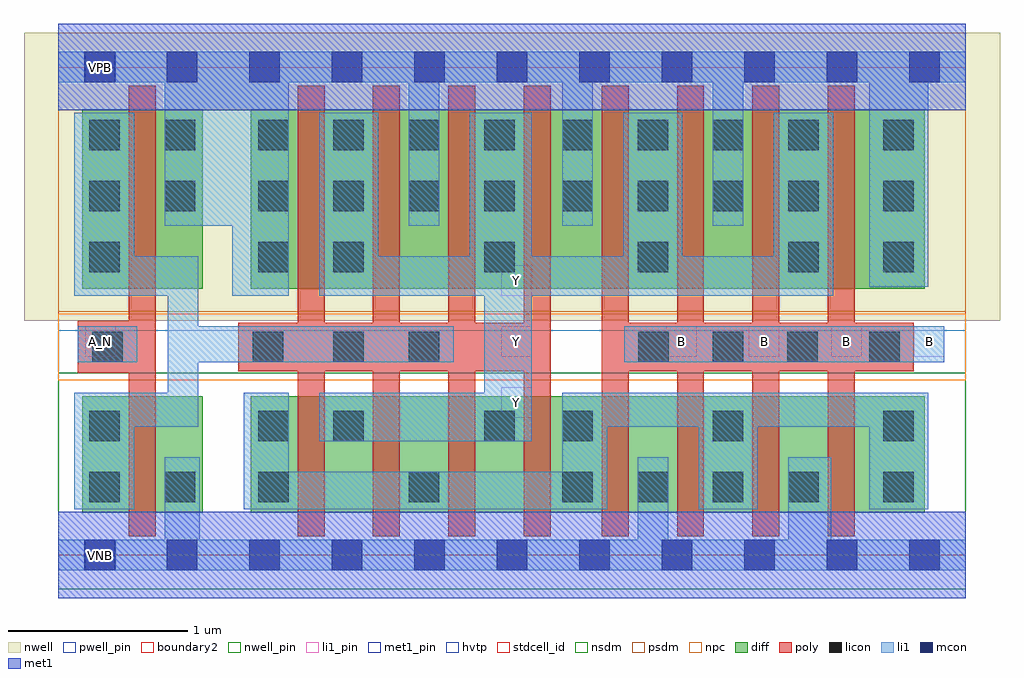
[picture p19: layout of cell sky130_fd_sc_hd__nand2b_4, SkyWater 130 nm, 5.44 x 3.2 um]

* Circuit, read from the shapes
.subckt sky130_fd_sc_hd__nand2b_4 A_N B VGND VNB VPB VPWR Y
XM1 VGND A_N n1 VNB sky130_fd_pr__nfet_01v8 w=0.65 l=0.15
XM2 Y n1 n2 VNB sky130_fd_pr__nfet_01v8 w=0.65 l=0.15 m=4
XM3 VGND B n2 VNB sky130_fd_pr__nfet_01v8 w=0.65 l=0.15 m=4
XM4 VPWR A_N n1 VPB sky130_fd_pr__pfet_01v8_hvt w=1 l=0.15
XM5 Y n1 VPWR VPB sky130_fd_pr__pfet_01v8_hvt w=1 l=0.15 m=4
XM6 Y B VPWR VPB sky130_fd_pr__pfet_01v8_hvt w=1 l=0.15 m=4
.ends

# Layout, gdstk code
import gdstk
lib = gdstk.Library(unit=1e-6, precision=1e-09)
def R(c, l, rs):  # rectangles x0, y0, x1, y1
    for r in rs: c.add(gdstk.rectangle(r[:2], r[2:], *l))
def A(c, l, x, y, w, h, nx, ny, dx, dy):  # array of equal rectangles
    R(c, l, [(x+i*dx, y+j*dy, x+i*dx+w, y+j*dy+h) for i in range(nx) for j in range(ny)])
def P(c, l, *ps):  # polygons
    for p in ps: c.add(gdstk.Polygon(p, *l))
nwell_pin = (64, 16)
nwell = (64, 20)
diff = (65, 20)
poly = (66, 20)
licon = (66, 44)
li1_pin = (67, 16)
li1 = (67, 20)
mcon = (67, 44)
met1_pin = (68, 16)
met1 = (68, 20)
hvtp = (78, 44)
stdcell_id = (81, 4)
nsdm = (93, 44)
psdm = (94, 20)
npc = (95, 20)
pwell_pin = (122, 16)
boundary2 = (236, 0)

sky130_fd_sc_hd__nand2b_ = lib.new_cell('sky130_fd_sc_hd__nand2b_4')
R(sky130_fd_sc_hd__nand2b_, nwell_pin, [(0.15,2.635,0.32,2.805)])
R(sky130_fd_sc_hd__nand2b_, nwell, [(-0.19,1.305,5.25,2.91)])
R(sky130_fd_sc_hd__nand2b_, diff, [(0.135,0.235,0.805,0.885), (1.075,0.235,4.83,0.885), (0.135,1.485,0.805,2.485), (1.075,1.485,4.83,2.485)])
R(sky130_fd_sc_hd__nand2b_, poly, [(0.11,1.015,0.395,1.025), (0.11,1.295,0.395,1.305)])
P(sky130_fd_sc_hd__nand2b_, poly, [(0.545,2.615),(0.395,2.615),(0.395,1.295),(0.11,1.295),(0.11,1.025),(0.395,1.025),(0.395,0.105),(0.545,0.105)],
  [(2.745,2.615),(2.595,2.615),(2.595,1.295),(2.325,1.295),(2.325,2.615),(2.175,2.615),(2.175,1.295),(1.905,1.295),(1.905,2.615),(1.755,2.615),(1.755,1.295),(1.485,1.295),(1.485,2.615),(1.335,2.615),(1.335,1.295),(1.005,1.295),(1.005,1.025),(1.335,1.025),(1.335,0.105),(1.485,0.105),(1.485,1.025),(1.755,1.025),(1.755,0.105),(1.905,0.105),(1.905,1.025),(2.175,1.025),(2.175,0.105),(2.325,0.105),(2.325,1.025),(2.595,1.025),(2.595,0.105),(2.745,0.105)],
  [(4.77,1.295),(4.44,1.295),(4.44,2.615),(4.29,2.615),(4.29,1.295),(4.02,1.295),(4.02,2.615),(3.87,2.615),(3.87,1.295),(3.6,1.295),(3.6,2.615),(3.45,2.615),(3.45,1.295),(3.18,1.295),(3.18,2.615),(3.03,2.615),(3.03,0.105),(3.18,0.105),(3.18,1.025),(3.45,1.025),(3.45,0.105),(3.6,0.105),(3.6,1.025),(3.87,1.025),(3.87,0.105),(4.02,0.105),(4.02,1.025),(4.29,1.025),(4.29,0.105),(4.44,0.105),(4.44,1.025),(4.77,1.025)])
A(sky130_fd_sc_hd__nand2b_, licon, 2.81, 0.295, 0.17, 0.17, 4, 2, 0.42, 1.62)
A(sky130_fd_sc_hd__nand2b_, licon, 3.235, 1.075, 0.17, 0.17, 3, 1, 0.415, 0)
A(sky130_fd_sc_hd__nand2b_, licon, 0.175, 1.575, 0.17, 0.17, 1, 3, 0, 0.34)
A(sky130_fd_sc_hd__nand2b_, licon, 4.6, 1.575, 0.17, 0.17, 1, 3, 0, 0.34)
A(sky130_fd_sc_hd__nand2b_, licon, 1.115, 1.915, 0.17, 0.17, 4, 2, 0.42, 0.34)
A(sky130_fd_sc_hd__nand2b_, licon, 2.81, 2.255, 0.17, 0.17, 4, 1, 0.42, 0)
R(sky130_fd_sc_hd__nand2b_, licon, [(0.175,0.295,0.345,0.465), (0.595,0.295,0.765,0.465), (1.115,0.295,1.285,0.465), (1.955,0.295,2.125,0.465), (4.6,0.295,4.77,0.465), (0.175,0.635,0.345,0.805), (1.115,0.635,1.285,0.805), (1.535,0.635,1.705,0.805), (2.375,0.635,2.545,0.805), (2.81,0.635,2.98,0.805), (3.65,0.635,3.82,0.805), (4.6,0.635,4.77,0.805), (0.19,1.075,0.36,1.245), (1.085,1.075,1.255,1.245), (1.535,1.075,1.705,1.245), (1.955,1.075,2.125,1.245), (4.52,1.075,4.69,1.245), (1.115,1.575,1.285,1.745), (1.535,1.575,1.705,1.745), (2.375,1.575,2.545,1.745), (3.23,1.575,3.4,1.745), (4.07,1.575,4.24,1.745), (0.595,1.915,0.765,2.085), (0.595,2.255,0.765,2.425)])
A(sky130_fd_sc_hd__nand2b_, li1_pin, 2.47, 0.765, 0.17, 0.17, 1, 3, 0, 0.34)
A(sky130_fd_sc_hd__nand2b_, li1_pin, 3.39, 1.105, 0.17, 0.17, 4, 1, 0.46, 0)
R(sky130_fd_sc_hd__nand2b_, li1_pin, [(0.15,1.105,0.32,1.275)])
R(sky130_fd_sc_hd__nand2b_, li1, [(0.11,1.075,0.44,1.275), (3.155,1.075,4.94,1.275)])
P(sky130_fd_sc_hd__nand2b_, li1, [(5.06,2.805),(0,2.805),(0,2.635),(0.595,2.635),(0.595,1.835),(0.97,1.835),(0.97,1.445),(1.285,1.445),(1.285,2.635),(1.955,2.635),(1.955,1.835),(2.125,1.835),(2.125,2.635),(2.81,2.635),(2.81,1.835),(2.98,1.835),(2.98,2.635),(3.65,2.635),(3.65,1.835),(3.82,1.835),(3.82,2.635),(4.52,2.635),(4.52,1.495),(4.85,1.495),(4.85,2.635),(5.06,2.635)],
  [(5.06,0.085),(4.31,0.085),(4.31,0.545),(4.07,0.545),(4.07,0.085),(3.4,0.085),(3.4,0.545),(3.23,0.545),(3.23,0.085),(0.79,0.085),(0.79,0.545),(0.595,0.545),(0.595,0.085),(0,0.085),(0,-0.085),(5.06,-0.085)],
  [(2.205,1.275),(0.78,1.275),(0.78,1.665),(0.425,1.665),(0.425,2.465),(0.09,2.465),(0.09,1.445),(0.61,1.445),(0.61,0.905),(0.09,0.905),(0.09,0.255),(0.425,0.255),(0.425,0.715),(0.78,0.715),(0.78,1.075),(2.205,1.075)],
  [(4.85,0.905),(2.81,0.905),(2.81,0.465),(1.285,0.465),(1.285,0.905),(1.035,0.905),(1.035,0.255),(3.06,0.255),(3.06,0.715),(3.57,0.715),(3.57,0.255),(3.9,0.255),(3.9,0.715),(4.52,0.715),(4.52,0.255),(4.85,0.255)],
  [(4.32,2.465),(3.99,2.465),(3.99,1.665),(3.48,1.665),(3.48,2.465),(3.15,2.465),(3.15,1.665),(2.64,1.665),(2.64,2.465),(2.295,2.465),(2.295,1.665),(1.785,1.665),(1.785,2.465),(1.455,2.465),(1.455,1.445),(2.375,1.445),(2.375,0.905),(1.455,0.905),(1.455,0.635),(2.64,0.635),(2.64,1.445),(4.32,1.445)])
A(sky130_fd_sc_hd__nand2b_, mcon, 0.145, -0.085, 0.17, 0.17, 11, 2, 0.46, 2.72)
R(sky130_fd_sc_hd__nand2b_, met1_pin, [(0.15,-0.085,0.32,0.085), (0.15,2.635,0.32,2.805)])
R(sky130_fd_sc_hd__nand2b_, hvtp, [(0,1.25,5.06,2.72)])
R(sky130_fd_sc_hd__nand2b_, stdcell_id, [(0,0,5.06,2.72)])
R(sky130_fd_sc_hd__nand2b_, nsdm, [(0,-0.19,5.06,1.015)])
R(sky130_fd_sc_hd__nand2b_, psdm, [(0,1.355,5.06,2.91)])
R(sky130_fd_sc_hd__nand2b_, npc, [(0,0.975,5.06,1.345)])
R(sky130_fd_sc_hd__nand2b_, pwell_pin, [(0.15,-0.085,0.32,0.085)])
R(sky130_fd_sc_hd__nand2b_, boundary2, [(0,0,5.06,2.72)])
sky130_fd_sc_hd__nand2b_.add(gdstk.FlexPath([(0,2.72),(5.06,2.72)], 0.48, ends="flush", simple_path=True, layer=68, datatype=20))  # met1
sky130_fd_sc_hd__nand2b_.add(gdstk.FlexPath([(0,0),(5.06,0)], 0.48, ends="flush", simple_path=True, layer=68, datatype=20))  # met1
sky130_fd_sc_hd__nand2b_.add(gdstk.Label('B', (4.855,1.19), layer=67, texttype=5))
sky130_fd_sc_hd__nand2b_.add(gdstk.Label('B', (4.395,1.19), layer=67, texttype=5))
sky130_fd_sc_hd__nand2b_.add(gdstk.Label('B', (3.935,1.19), layer=67, texttype=5))
sky130_fd_sc_hd__nand2b_.add(gdstk.Label('B', (3.475,1.19), layer=67, texttype=5))
sky130_fd_sc_hd__nand2b_.add(gdstk.Label('A_N', (0.235,1.19), layer=67, texttype=5))
sky130_fd_sc_hd__nand2b_.add(gdstk.Label('Y', (2.555,0.85), layer=67, texttype=5))
sky130_fd_sc_hd__nand2b_.add(gdstk.Label('Y', (2.555,1.19), layer=67, texttype=5))
sky130_fd_sc_hd__nand2b_.add(gdstk.Label('Y', (2.555,1.53), layer=67, texttype=5))
sky130_fd_sc_hd__nand2b_.add(gdstk.Label('VNB', (0.235,0), layer=64, texttype=59))
sky130_fd_sc_hd__nand2b_.add(gdstk.Label('VPB', (0.235,2.72), layer=64, texttype=5))
sky130_fd_sc_hd__nand2b_.add(gdstk.Label('VGND', (0.23,0), layer=68, texttype=5))
sky130_fd_sc_hd__nand2b_.add(gdstk.Label('VPWR', (0.235,2.72), layer=68, texttype=5))
sky130_fd_sc_hd__nand2b_.add(gdstk.Label('nand2b_4', (0,0), layer=83, texttype=44))

lib.write_gds('sky130_fd_sc_hd__nand2b_4.gds')
